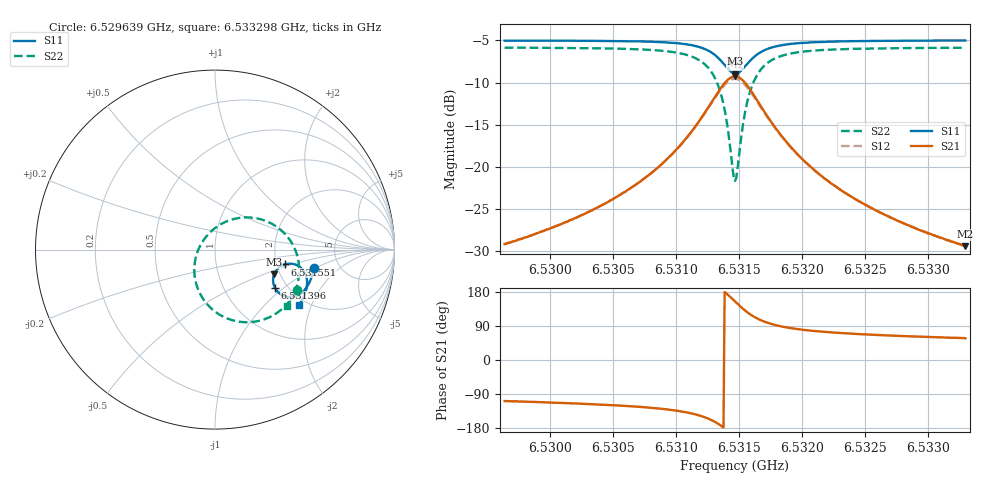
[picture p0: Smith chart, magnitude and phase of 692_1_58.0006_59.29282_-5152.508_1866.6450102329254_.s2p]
#  HZ  S  RI  R  50.00
! Rohde & Schwarz Vector Network Analyzer
! Rohde-Schwarz,ZNB20-2Port,1311601062101988,3.16
! Created: UTC 3/21/2024, 1:21:18 AM
! freq[Hz]  re:S11  im:S11  re:S21  im:S21  re:S12  im:S12  re:S22  im:S22
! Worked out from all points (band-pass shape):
!   401 points, 6.529639 GHz to 6.533298 GHz, reference 50 ohm
!   highest |S21| = -9.27 dB at 6.531469 GHz (marker M1); lowest = -29.4 dB at 6.533298 GHz (marker M2)
!   |S21| within 3 dB of the highest: 6.531285 GHz to 6.531652 GHz (366.4 kHz wide, 0.00561 % of centre)
!   lowest |S11| = -8.9 dB at 6.531469 GHz (marker M3), VSWR 2.11, Z = 93 - j29.6 ohm
!   |S11| at or under -10 dB: nowhere
!   |S22| runs from -21.7 to -5.9 dB; largest |S21 - S12| = 0.015
!   S11 on the Smith chart (normalised r, x): 6.529639 GHz: 3.23, -0.97; 6.531396 GHz: 1.73, -0.86; 6.531551 GHz: 2.21, -0.43; 6.533298 GHz: 1.83, -1.64
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6.5296392e9  0.5508 -0.1032  -0.011 -0.0331  -0.0117 -0.0329  0.4576 -0.2227
6.5302521e9  0.537 -0.1552  -0.0222 -0.0467  -0.0235 -0.0463  0.4208 -0.2809
6.5305906e9  0.5236 -0.188  -0.0364 -0.0606  -0.0382 -0.0596  0.3836 -0.322
6.530865e9  0.5041 -0.2191  -0.062 -0.0791  -0.0644 -0.0773  0.3265 -0.3645
6.5310754e9  0.4733 -0.2475  -0.1078 -0.0983  -0.1109 -0.0942  0.2347 -0.3993
6.5312401e9  0.4196 -0.2639  -0.1912 -0.0994  -0.1932 -0.091  0.0838 -0.3895
6.5313316e9  0.3686 -0.2502  -0.2692 -0.0589  -0.2665 -0.0473  -0.0427 -0.3054
6.5313682e9  0.3468 -0.232  -0.3011 -0.0213  -0.2947 -0.00951  -0.0881 -0.2358
6.5313956e9  0.3332 -0.2116  -0.3192 0.0174  -0.3098 0.0282  -0.1101 -0.1677
6.5314505e9  0.3246 -0.1575  -0.3225 0.1145  -0.309 0.1197  -0.096 -0.00803
6.5314688e9  0.3293 -0.1386  -0.3106 0.1473  -0.2969 0.1501  -0.0705 0.0429
6.5314871e9  0.338 -0.121  -0.2926 0.1773  -0.2794 0.1775  -0.0354 0.0881
6.5315237e9  0.3641 -0.094  -0.2433 0.222  -0.2324 0.2189  0.0534 0.1522
6.5315511e9  0.3875 -0.0825  -0.2012 0.2406  -0.1927 0.2361  0.1257 0.175
6.5315877e9  0.4178 -0.078  -0.1479 0.2476  -0.1423 0.2427  0.2151 0.1771
6.5316243e9  0.4436 -0.082  -0.1036 0.2408  -0.1 0.2365  0.2881 0.1573
6.5317341e9  0.4896 -0.1131  -0.0255 0.1936  -0.024 0.1916  0.4126 0.0598
6.5318621e9  0.5084 -0.1489  0.00785 0.1447  0.00905 0.1439  0.4592 -0.0368
6.5320817e9  0.5129 -0.1917  0.022 0.0956  0.0231 0.0953  0.4685 -0.1367
6.532347e9  0.5068 -0.2264  0.0235 0.0658  0.0245 0.0655  0.4562 -0.2034
6.5326946e9  0.4946 -0.2602  0.0217 0.0457  0.0224 0.0453  0.4353 -0.2559
6.5332984e9  0.4701 -0.3071  0.0183 0.0285  0.0188 0.0284  0.4 -0.3133
